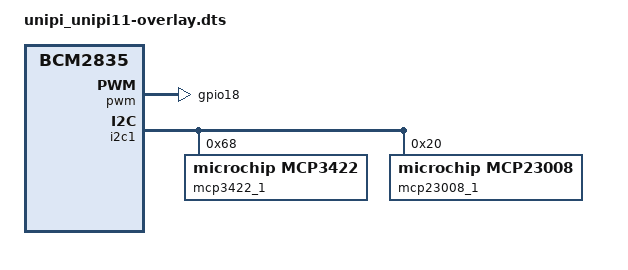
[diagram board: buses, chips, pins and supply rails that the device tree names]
/dts-v1/;
/plugin/;

/ {
	compatible = "brcm,bcm2835";

	fragment@0 {
		target = <&gpio>;
		__overlay__ {
			pwm_pins5: pwm_pins5 {
				/* this part is for RPi5 */
				function = "alt3";
				pins = "gpio18";
				bias-disable;
			};
		};
	};

	fragment@1 {
		target = <&pwm>;
		frag1: __overlay__ {
			pinctrl-names = "default";
			pinctrl-0 = <&pwm_pins5>;
			status = "okay";
		};
	};

	fragment@2 {
		target = <&i2c1>;

		__overlay__ {
			#address-cells = <1>;
			#size-cells = <0>;
			status = "okay";

			mcp3422_1: mcp3422@68 {
				compatible = "microchip,mcp3422";
				reg = <0x68>;
				status = "okay";
			};
		};
	};

	fragment@3 {
		target = <&i2c1>;

		__overlay__ {
			#address-cells = <1>;
			#size-cells = <0>;
			status = "okay";

			mcp23008_1: mcp23008@20 {
				compatible = "microchip,mcp23008";
				reg = <0x20>;
				gpio-controller;
				status = "okay";
			};
		};
	};
};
